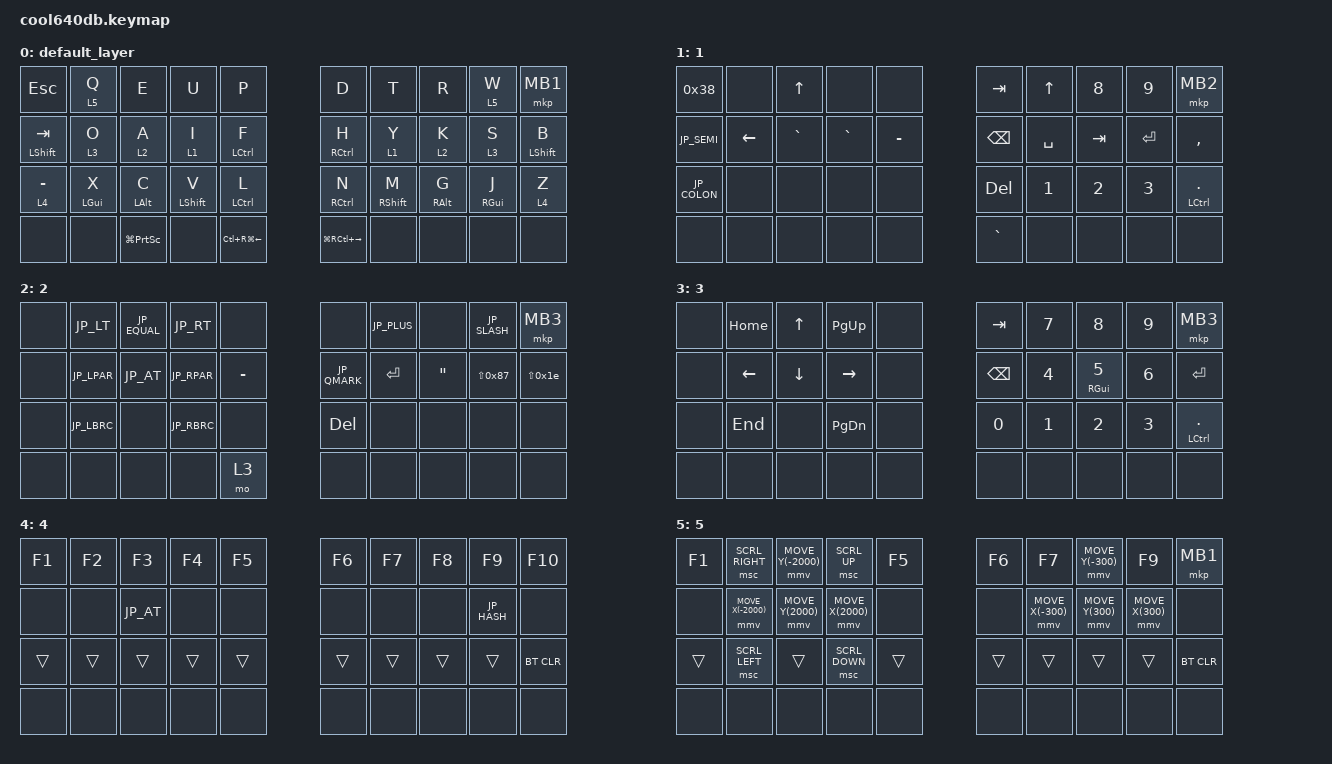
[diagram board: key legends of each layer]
#include <behaviors.dtsi>
#include <dt-bindings/zmk/bt.h>
#include <dt-bindings/zmk/keys.h>
#include <dt-bindings/zmk/pointing.h>
#include "keycode_japanese.h"





&mt { 
    flavor = "balanced"; 
    tapping-term-ms = <200>;
    quick-tap-ms = <150>; 
};

&lt {
    flavor = "balanced";
    tapping-term-ms = <200>; 
    quick-tap-ms = <150>; 
};


// 複数キーの同時押しに特別の入力を設定できる
    // キー番号早見表：
    // 0  1  2  3  4           5  6  7  8  9
    // 10 11 12 13 14          15 16 17 18 19
    // 20 21 22 23 24          25 26 27 28 29 
    // 30 31 32 33 34          35 36 37 38 39





/ {
    combos {
        compatible = "zmk,combos";

        fopen {
            bindings = <&kp LG(N2)>;
            key-positions = <7 9>;
            layers = <0>;
            timeout-ms = <200>;
        };

       bootloader_R {
            bindings = <&bootloader>;
            key-positions = <5 9 35 39>;
            timeout-ms = <200>;
        };

       bootloader_L {
            bindings = <&bootloader>;
            key-positions = <0 4 30 34>;
            timeout-ms = <200>;
        };

        eq {
            bindings = <&bt BT_CLR_ALL>;
            key-positions = <0 10 20 30>;
            timeout-ms = <50>;
            layers = <0>;
        };

        bt0 {
            bindings = <&bt BT_SEL 0>;
            key-positions = <5 15 25 35>;
            timeout-ms = <50>;
            layers = <0>;
        };



        ESC_ {
            bindings = <&kp ESCAPE>;
            key-positions = <0 1>;
            layers = <0>;
        };

        TAB_ {
            bindings = <&kp TAB>;
            key-positions = <10 11>;
        };

        caps {
            bindings = <&kp CAPS>;
            key-positions = <20 21>;
            layers = <0>;
        };

        BS {
            bindings = <&kp BACKSPACE>;
            key-positions = <9 8>;
            layers = <0>;
        };

       
        MB1_ {
            bindings = <&mkp MB1>;
            key-positions = <4 3>;
            layers = <0>;
        };

        MB2_ {
            bindings = <&mkp MB2>;
            key-positions = <3 2>;
            layers = <0>;
        };

        VOL_UP {
            bindings = <&kp C_VOLUME_UP>;
            key-positions = <5 6>;
            layers = <1>;
        };

        VOL_DOWN {
            bindings = <&kp C_VOLUME_DOWN>;
            key-positions = <4 3>;
            layers = <1>;
        };
    };

    macros {
        to_layer_0: to_layer_0 {
            compatible = "zmk,behavior-macro-one-param";
            #binding-cells = <1>;
            bindings = <&to 0 &macro_param_1to1 &kp MACRO_PLACEHOLDER>;
            label = "TO_LAYER_0";
        };
    };

    lt_to_layer_0: lt_to_layer_0 {
        compatible = "zmk,behavior-hold-tap";
        label = "LAYER_TAP_TO_0";
        bindings = <&mo>, <&to_layer_0>;

        #binding-cells = <2>;
        tapping-term-ms = <200>;
    };
};

/ {
    behaviors {
    };

    keymap {
        compatible = "zmk,keymap";

        default_layer {
            bindings = <
&kp ESCAPE          &lt 5 Q        &kp E      &kp U         &kp P                                    &kp D        &kp T         &kp R       &lt 5 W       &mkp MB1

&mt LSHIFT TAB      &lt 3 O        &lt 2 A      &lt 1 I         &mt LCTRL F                             &mt RCTRL H  &lt 1 Y         &lt 2 K       &lt 3 S       &mt LEFT_SHIFT B

&lt 4 MINUS    &mt LGUI X   &mt LALT C &mt LSHIFT V  &mt LCTRL L                                   &mt RCTRL N        &mt RSHIFT M  &mt RALT G  &mt RGUI J  &lt 4 Z

&none              &none         &kp LG(PSCRN)     &none         &kp LC(RG(LEFT))        &kp LG(RC(RIGHT))     &none     &none       &none        &none
            >;
        };

        1 {
            bindings = <
&kp 0x38     &none      &kp UP     &none       &none                                 &kp TAB          &kp UP          &kp N8        &kp N9         &mkp MB2
   &kp JP_SEMI  &kp LEFT   &kp GRAVE  &kp GRAVE   &kp MINUS                             &kp BACKSPACE  &kp SPACE       &kp TAB       &kp ENTER      &kp COMMA 
   &kp JP_COLON &none      &none      &none       &none                                 &kp DELETE     &kp N1          &kp N2        &kp N3         &mt LCTRL PERIOD

&none           &none       &none  &none  &none                                        &kp GRAVE      &none  &none                 &none                 &none
            >;
        };

        2 {
            bindings = <
&none        &kp JP_LT      &kp JP_EQUAL   &kp JP_RT  &none                                        &none          &kp JP_PLUS     &none        &kp JP_SLASH  &mkp MB3
&none        &kp JP_LPAR    &kp JP_AT      &kp JP_RPAR   &kp MINUS                                 &kp JP_QMARK   &kp ENTER  &kp DOUBLE_QUOTES &kp LS(0x87)  &kp LS(0x1e)
&none        &kp JP_LBRC    &none          &kp JP_RBRC   &none                                     &kp DELETE          &none           &none         &none         &none

&none       &none   &none   &none   &mo 3                                         &none          &none    &none   &none           &none
            >;
        };

        3 {
            bindings = <
&none        &kp HOME   &kp UP     &kp PAGE_UP      &none                                 &kp TAB          &kp N7          &kp N8        &kp N9         &mkp MB3
&none        &kp LEFT   &kp DOWN   &kp RIGHT        &none                                 &kp BACKSPACE  &kp N4          &mt RGUI N5        &kp N6         &kp ENTER
&none        &kp END    &none      &kp PAGE_DOWN    &none                                 &kp N0         &kp N1          &kp N2        &kp N3         &mt LCTRL PERIOD

&none       &none   &none   &none   &none                                         &none          &none    &none   &none           &none
            >;
        };


        4{
            bindings = <
&kp F1  &kp F2  &kp F3  &kp F4  &kp F5                  &kp F6  &kp F7  &kp F8  &kp F9  &kp F10
&none   &none   &kp JP_AT   &none   &none                   &none   &none   &none   &kp JP_HASH   &none
&trans  &trans  &trans  &trans  &trans                                     &trans        &trans        &trans        &trans        &bt BT_CLR

&none       &none   &none   &none   &none                                         &none          &none    &none   &none           &none
            >;
        };

        5{
            bindings = <
&kp F1  &msc SCRL_RIGHT  &mmv MOVE_Y(-2000)     &msc SCRL_UP  &kp F5                             &kp F6  &kp F7  &mmv MOVE_Y(-300)  &kp F9  &mkp MB1

&none   &mmv MOVE_X(-2000) &mmv MOVE_Y(2000)    &mmv MOVE_X(2000)   &none                   &none    &mmv MOVE_X(-300) &mmv MOVE_Y(300)    &mmv MOVE_X(300)   &none

&trans  &msc SCRL_LEFT   &trans           &msc SCRL_DOWN  &trans                                     &trans        &trans        &trans        &trans        &bt BT_CLR

&none       &none   &none   &none   &none                                         &none          &none    &none   &none           &none
            >;
        };

    };
};
